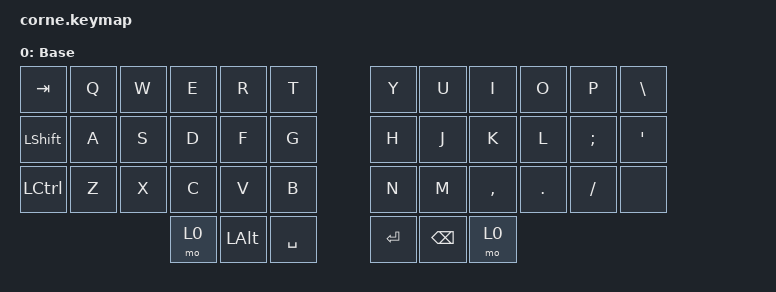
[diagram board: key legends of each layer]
/*
 * Copyright (c) 2020 The ZMK Contributors
 *
 * SPDX-License-Identifier: MIT
 */

#include <behaviors.dtsi>
#include <dt-bindings/zmk/keys.h>

/ {
    keymap {
        compatible = "zmk,keymap";

        default_layer {
            // -----------------------------------------------------------------------------------------
            // |  TAB |  Q  |  W  |  E  |  R  |  T  |   |  Y  |  U   |  I  |  O  |  P  | BKSP |
            // | CTRL |  A  |  S  |  D  |  F  |  G  |   |  H  |  J   |  K  |  L  |  ;  |  '   |
            // | SHFT |  Z  |  X  |  C  |  V  |  B  |   |  N  |  M   |  ,  |  .  |  /  | ESC  |
            //                    | GUI | LWR | SPC |   | ENT | RSE  | ALT |

            display-name = "Base";
            bindings = <
&kp TAB    &kp Q  &kp W  &kp E  &kp R     &kp T        &kp Y    &kp U     &kp I      &kp O    &kp P     &kp BSLH
&kp LSHFT  &kp A  &kp S  &kp D  &kp F     &kp G        &kp H    &kp J     &kp K      &kp L    &kp SEMI  &kp SQT
&kp LCTRL  &kp Z  &kp X  &kp C  &kp V     &kp B        &kp N    &kp M     &kp COMMA  &kp DOT  &kp FSLH  &none
                         &mo 0  &kp LALT  &kp SPACE    &kp RET  &kp BSPC  &mo 0
            >;
        };
    };
};
